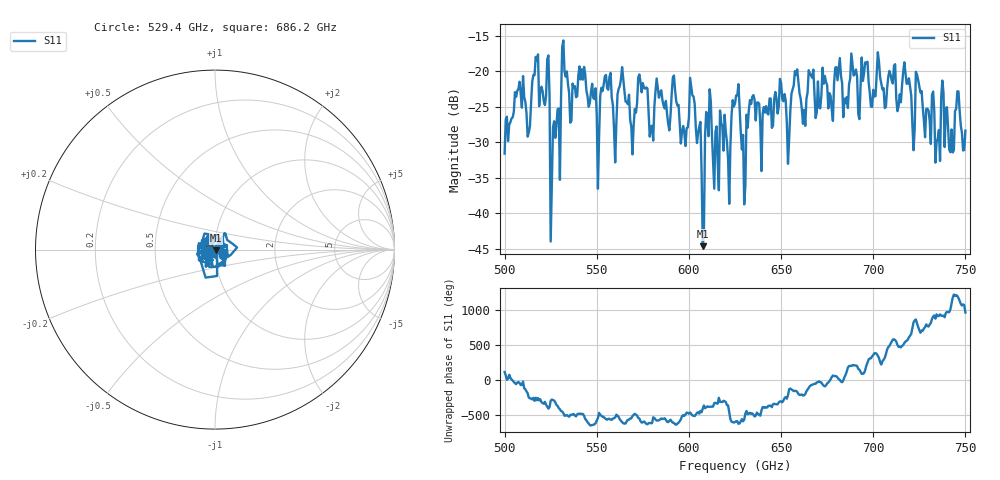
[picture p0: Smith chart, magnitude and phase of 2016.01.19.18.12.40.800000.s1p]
!Created with skrf (http://scikit-rf.org).
# GHz S RI R 50.0
!freq ReS11 ImS11
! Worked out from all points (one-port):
!   401 points, 500 GHz to 750 GHz, reference 50 ohm
!   lowest |S11| = -44.6 dB at 607.5 GHz (marker M1), VSWR 1.01, Z = 50.4 - j0.417 ohm
!   |S11| at or under -10 dB: start of sweep to end of sweep
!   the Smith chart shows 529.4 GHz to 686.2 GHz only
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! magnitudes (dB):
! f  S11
! 500 GHz  -31.6
! 506.9 GHz  -22.7
! 513.1 GHz  -28.6
! 516.9 GHz  -18.0
! 523.1 GHz  -18.3
! 526.2 GHz  -27.9
! 531.2 GHz  -16.6
! 541.9 GHz  -19.7
! 550 GHz  -26.3
! 562.5 GHz  -22.1
! 569.4 GHz  -31.7
! 573.8 GHz  -21.6
! 579.4 GHz  -27.8
! 593.8 GHz  -24.8
! 601.9 GHz  -23.4
! 607.5 GHz  -44.6
! 610.6 GHz  -29.2
! 621.2 GHz  -32.4
! 625 GHz  -24.6
! 629.4 GHz  -29.0
! 634.4 GHz  -23.6
! 653.8 GHz  -33.0
! 656.2 GHz  -22.6
! 687.5 GHz  -21.0
! 718.8 GHz  -21.7
! 735 GHz  -29.5
! 738.1 GHz  -23.0
! 750 GHz  -28.4
